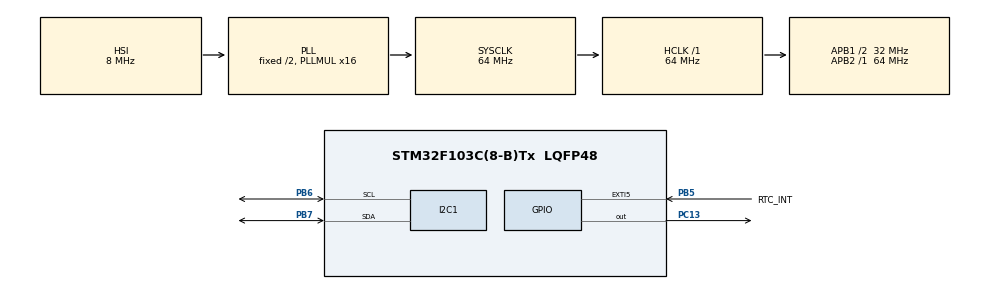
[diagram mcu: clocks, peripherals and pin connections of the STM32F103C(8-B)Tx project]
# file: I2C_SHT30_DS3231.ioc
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Mcu.Family=STM32F1
Mcu.Name=STM32F103C(8-B)Tx
Mcu.Package=LQFP48
NVIC.EXTI9_5_IRQn=true\:1\:0\:true\:false\:true\:true\:true\:true
NVIC.PriorityGroup=NVIC_PRIORITYGROUP_4
PA13.Mode=Serial_Wire
PA13.Signal=SYS_JTMS-SWDIO
PA14.Mode=Serial_Wire
PA14.Signal=SYS_JTCK-SWCLK
PB5.GPIO_Label=RTC_INT
PB5.GPIO_ModeDefaultEXTI=GPIO_MODE_IT_FALLING
PB5.GPIO_PuPd=GPIO_PULLUP
PB5.Signal=GPXTI5
PB6.Mode=I2C
PB6.Signal=I2C1_SCL
PB7.Mode=I2C
PB7.Signal=I2C1_SDA
PC13-TAMPER-RTC.GPIO_PuPd=GPIO_PULLUP
PC13-TAMPER-RTC.PinState=GPIO_PIN_SET
PC13-TAMPER-RTC.Signal=GPIO_Output
ProjectManager.HeapSize=0x200
ProjectManager.StackSize=0x400
ProjectManager.TargetToolchain=STM32CubeIDE
RCC.AHBFreq_Value=64000000
RCC.APB1CLKDivider=RCC_HCLK_DIV2
RCC.APB1Freq_Value=32000000
RCC.APB1TimFreq_Value=64000000
RCC.APB2Freq_Value=64000000
RCC.APB2TimFreq_Value=64000000
RCC.HCLKFreq_Value=64000000
RCC.PLLMUL=RCC_PLL_MUL16
RCC.SYSCLKFreq_VALUE=64000000
RCC.SYSCLKSource=RCC_SYSCLKSOURCE_PLLCLK
RCC.USBFreq_Value=64000000
board=custom

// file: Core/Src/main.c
/* USER CODE BEGIN Header */
/**
  ******************************************************************************
  * @file           : main.c
  * @brief          : Main program body
  ******************************************************************************
  * @attention
  *
  * Copyright (c) 2026 STMicroelectronics.
  * All rights reserved.
  *
  * This software is licensed under terms that can be found in the LICENSE file
  * in the root directory of this software component.
  * If no LICENSE file comes with this software, it is provided AS-IS.
  *
  ******************************************************************************
  */
/* USER CODE END Header */
#include "main.h"

/* USER CODE BEGIN PTD */
typedef struct {
	uint8_t sec;
	uint8_t min;
	uint8_t hour;
	uint8_t day;
	uint8_t date;
	uint8_t month;
	uint8_t year;
}Date;
/* USER CODE END PTD */

/* USER CODE BEGIN PD */
#define DS3231_ADDR 0x68
/* USER CODE END PD */

I2C_HandleTypeDef hi2c1;

/* USER CODE BEGIN PV */

Date date;

uint8_t AHT30_cmd_buf[3]={0xAC,0x33,0x00};
uint8_t data[7]={0};

uint8_t ADDR= DS3231_ADDR;
uint8_t RH;
uint16_t Temp;

uint8_t alarm_flag=0;
/* USER CODE END PV */

void SystemClock_Config(void);
static void MX_GPIO_Init(void);
static void MX_I2C1_Init(void);
/* USER CODE BEGIN PFP */

uint8_t BCD2dec(uint8_t BCD){
	return (BCD&0x0F)+((BCD>>4)&0x0F)*10;
}

uint8_t dec2BCD(uint8_t dec){
	return ((dec/10)<<4)|(dec%10);
}

void RTC_init(Date *date,
              uint8_t sec,
              uint8_t min,
              uint8_t hour,
              uint8_t day,
              uint8_t date_,
              uint8_t month,
              uint8_t year)
{
    date->sec   = sec;
    date->min   = min;
    date->hour  = hour;
    date->day   = day;
    date->date  = date_;
    date->month = month;
    date->year  = year;
}

void RTC_write_data(I2C_HandleTypeDef *hi2c, Date *date, uint16_t RTC_ADDR)
{
    uint8_t data[7];

    data[0] = dec2BCD(date->sec);
    data[1] = dec2BCD(date->min);
    data[2] = dec2BCD(date->hour);
    data[3] = dec2BCD(date->day);
    data[4] = dec2BCD(date->date);
    data[5] = dec2BCD(date->month);
    data[6] = dec2BCD(date->year);

    HAL_I2C_Mem_Write(hi2c, (RTC_ADDR<<1)|0x01,0x00,I2C_MEMADD_SIZE_8BIT,data,7,100);
}

void RTC_read_data(I2C_HandleTypeDef *hi2c, Date *date, uint16_t RTC_ADDR)
{
    uint8_t data_rx[7];

    HAL_I2C_Mem_Read(hi2c, (RTC_ADDR<<1)&0xFE,0x00,I2C_MEMADD_SIZE_8BIT,data_rx,7,100);

    date->sec   = BCD2dec(data_rx[0]);
    date->min   = BCD2dec(data_rx[1]);
    date->hour  = BCD2dec(data_rx[2]);
    date->day   = BCD2dec(data_rx[3]);
    date->date  = BCD2dec(data_rx[4]);
    date->month = BCD2dec(data_rx[5]);
    date->year  = BCD2dec(data_rx[6]);
}

void DS3231_WriteReg(I2C_HandleTypeDef *hi2c, uint8_t reg, uint8_t data)
{
    uint8_t buf[2] = {reg, data};
    HAL_I2C_Master_Transmit(hi2c, (DS3231_ADDR<<1)|0x01, buf, 2, 100);
}

void DS3231_Alarm1_EverySecond(I2C_HandleTypeDef *hi2c)
{
    // Alarm 1 registers
    // A1M1=1, A1M2=1, A1M3=1, A1M4=1 → ignore all fields except second tick

    DS3231_WriteReg(hi2c, 0x07, 0x80); // A1M1 = 1 (ignore seconds)
    DS3231_WriteReg(hi2c, 0x08, 0x80); // A1M2 = 1 (ignore minutes)
    DS3231_WriteReg(hi2c, 0x09, 0x80); // A1M3 = 1 (ignore hours)
    DS3231_WriteReg(hi2c, 0x0A, 0x80); // A1M4 = 1 (ignore date/day)
}

void DS3231_Alarm1_Set_HMS(I2C_HandleTypeDef *hi2c,
                           uint8_t hour,
                           uint8_t min,
                           uint8_t sec)
{
    // A1M1 = 0 → match seconds
    DS3231_WriteReg(hi2c, 0x07, dec2BCD(sec) & 0x7F);

    // A1M2 = 0 → match minutes
    DS3231_WriteReg(hi2c, 0x08, dec2BCD(min) & 0x7F);

    // A1M3 = 0 → match hours
    DS3231_WriteReg(hi2c, 0x09, dec2BCD(hour) & 0x7F);

    // A1M4 = 0 → match date (có thể b�? qua hoặc set cố định)
    DS3231_WriteReg(hi2c, 0x0A, 0x00);
}

void DS3231_Alarm1_Enable(I2C_HandleTypeDef *hi2c)
{
    uint8_t ctrl;

    HAL_I2C_Mem_Read(hi2c, (DS3231_ADDR<<1)&0xFE, 0x0E, 1, &ctrl, 1, 100);

    ctrl |= (1 << 2); // INTCN = 1
    ctrl |= (1 << 0); // A1IE = 1

    HAL_I2C_Mem_Write(hi2c, (DS3231_ADDR<<1)|0x01, 0x0E, 1, &ctrl, 1, 100);
}

void DS3231_Clear_A1F(I2C_HandleTypeDef *hi2c)
{
    uint8_t status;

    HAL_I2C_Mem_Read(hi2c, (DS3231_ADDR<<1)&0xFE, 0x0F, 1, &status, 1, 100);

    status &= ~(1 << 0); // clear A1F

    HAL_I2C_Mem_Write(hi2c, (DS3231_ADDR<<1)|0x01, 0x0F, 1, &status, 1, 100);
}
/* USER CODE END PFP */

/* USER CODE BEGIN 0 */
static uint32_t tick=0;
/* USER CODE END 0 */

int main(void)
{

  /* MCU Configuration--------------------------------------------------------*/

  /* Reset of all peripherals, Initializes the Flash interface and the Systick. */
  HAL_Init();

  /* Configure the system clock */
  SystemClock_Config();

  /* Initialize all configured peripherals */
  MX_GPIO_Init();
  MX_I2C1_Init();
  /* USER CODE BEGIN 2 */
RTC_init(&date, 57,28,12, 7, 10, 5, 26);

RTC_write_data(&hi2c1, &date, ADDR);

  /* USER CODE END 2 */

  /* Infinite loop */
  /* USER CODE BEGIN WHILE */
  while (1)
  {
	  if(HAL_GetTick()-tick==1000){
		  tick =HAL_GetTick() ;
		  RTC_read_data(&hi2c1, &date, ADDR);
	  }
//	  AHT30_read_data(&hi2c1, ADDR, data, AHT30_cmd_buf, 7, 3, 100);
//	  AHT30_calc_data(data, &RH, &Temp);
    /* USER CODE END WHILE */

  }
}

void SystemClock_Config(void)
{
  RCC_OscInitTypeDef RCC_OscInitStruct = {0};
  RCC_ClkInitTypeDef RCC_ClkInitStruct = {0};

  /** Initializes the RCC Oscillators according to the specified parameters
  * in the RCC_OscInitTypeDef structure.
  */
  RCC_OscInitStruct.OscillatorType = RCC_OSCILLATORTYPE_HSI;
  RCC_OscInitStruct.HSIState = RCC_HSI_ON;
  RCC_OscInitStruct.HSICalibrationValue = RCC_HSICALIBRATION_DEFAULT;
  RCC_OscInitStruct.PLL.PLLState = RCC_PLL_ON;
  RCC_OscInitStruct.PLL.PLLSource = RCC_PLLSOURCE_HSI_DIV2;
  RCC_OscInitStruct.PLL.PLLMUL = RCC_PLL_MUL16;
  if (HAL_RCC_OscConfig(&RCC_OscInitStruct) != HAL_OK)
  {
    Error_Handler();
  }

  /** Initializes the CPU, AHB and APB buses clocks
  */
  RCC_ClkInitStruct.ClockType = RCC_CLOCKTYPE_HCLK|RCC_CLOCKTYPE_SYSCLK
                              |RCC_CLOCKTYPE_PCLK1|RCC_CLOCKTYPE_PCLK2;
  RCC_ClkInitStruct.SYSCLKSource = RCC_SYSCLKSOURCE_PLLCLK;
  RCC_ClkInitStruct.AHBCLKDivider = RCC_SYSCLK_DIV1;
  RCC_ClkInitStruct.APB1CLKDivider = RCC_HCLK_DIV2;
  RCC_ClkInitStruct.APB2CLKDivider = RCC_HCLK_DIV1;

  if (HAL_RCC_ClockConfig(&RCC_ClkInitStruct, FLASH_LATENCY_2) != HAL_OK)
  {
    Error_Handler();
  }
}

static void MX_I2C1_Init(void)
{

  hi2c1.Instance = I2C1;
  hi2c1.Init.ClockSpeed = 100000;
  hi2c1.Init.DutyCycle = I2C_DUTYCYCLE_2;
  hi2c1.Init.OwnAddress1 = 0;
  hi2c1.Init.AddressingMode = I2C_ADDRESSINGMODE_7BIT;
  hi2c1.Init.DualAddressMode = I2C_DUALADDRESS_DISABLE;
  hi2c1.Init.OwnAddress2 = 0;
  hi2c1.Init.GeneralCallMode = I2C_GENERALCALL_DISABLE;
  hi2c1.Init.NoStretchMode = I2C_NOSTRETCH_DISABLE;
  if (HAL_I2C_Init(&hi2c1) != HAL_OK)
  {
    Error_Handler();
  }

}

static void MX_GPIO_Init(void)
{
  GPIO_InitTypeDef GPIO_InitStruct = {0};

  /* GPIO Ports Clock Enable */
  __HAL_RCC_GPIOC_CLK_ENABLE();
  __HAL_RCC_GPIOA_CLK_ENABLE();
  __HAL_RCC_GPIOB_CLK_ENABLE();

  /*Configure GPIO pin Output Level */
  HAL_GPIO_WritePin(GPIOC, GPIO_PIN_13, GPIO_PIN_SET);

  /*Configure GPIO pin : PC13 */
  GPIO_InitStruct.Pin = GPIO_PIN_13;
  GPIO_InitStruct.Mode = GPIO_MODE_OUTPUT_PP;
  GPIO_InitStruct.Pull = GPIO_PULLUP;
  GPIO_InitStruct.Speed = GPIO_SPEED_FREQ_LOW;
  HAL_GPIO_Init(GPIOC, &GPIO_InitStruct);

  /*Configure GPIO pin : RTC_INT_Pin */
  GPIO_InitStruct.Pin = RTC_INT_Pin;
  GPIO_InitStruct.Mode = GPIO_MODE_IT_FALLING;
  GPIO_InitStruct.Pull = GPIO_PULLUP;
  HAL_GPIO_Init(RTC_INT_GPIO_Port, &GPIO_InitStruct);

  /* EXTI interrupt init*/
  HAL_NVIC_SetPriority(EXTI9_5_IRQn, 1, 0);
  HAL_NVIC_EnableIRQ(EXTI9_5_IRQn);

}

/* USER CODE BEGIN 4 */
void HAL_GPIO_EXTI_Callback(uint16_t GPIO_Pin)
{
    if(GPIO_Pin == RTC_INT_Pin)
    {
        alarm_flag = 1;
        HAL_GPIO_WritePin(GPIOC, GPIO_PIN_13, 0);
        DS3231_Clear_A1F(&hi2c1);
    }
}
/* USER CODE END 4 */

void Error_Handler(void)
{
  __disable_irq();
  while (1)
  {
  }
}
